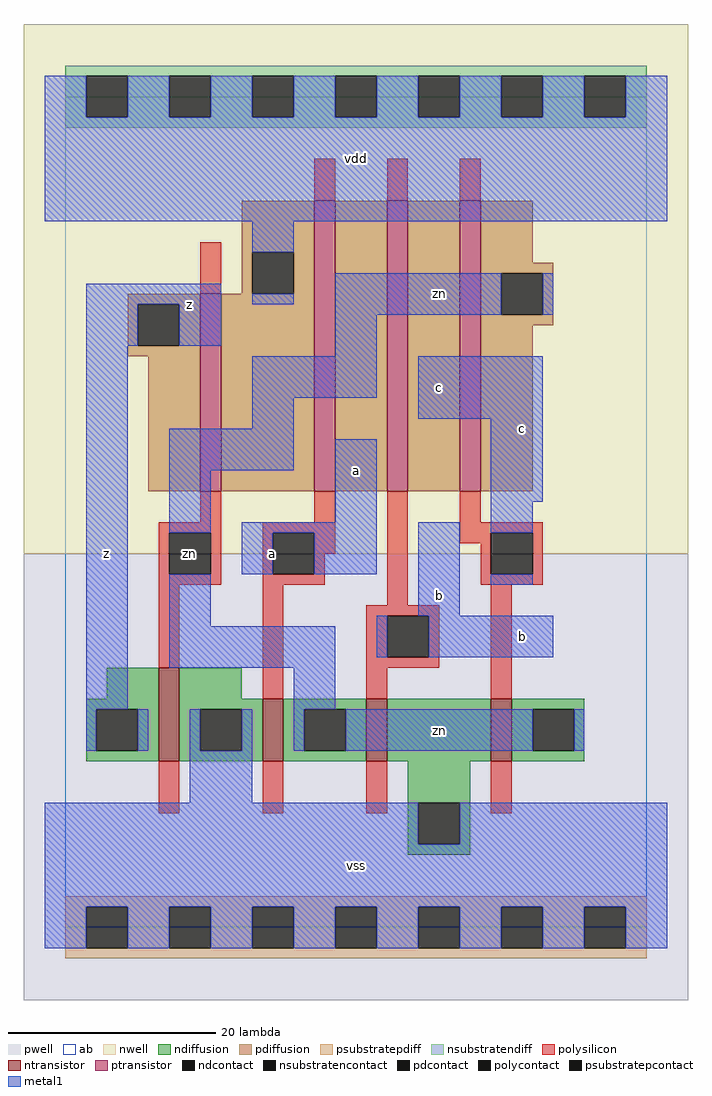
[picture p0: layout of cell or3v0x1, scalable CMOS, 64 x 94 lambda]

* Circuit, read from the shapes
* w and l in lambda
.subckt or3v0x1 a b c vdd vss z zn
M1 vss zn z vss nfet w=9 l=2
M2 zn a vss vss nfet w=6 l=2
M3 vss b zn vss nfet w=6 l=2
M4 zn c vss vss nfet w=6 l=2
M5 vdd zn z vdd pfet w=19 l=2
M6 n1 a vdd vdd pfet w=28 l=2
M7 n2 b n1 vdd pfet w=28 l=2
M8 zn c n2 vdd pfet w=28 l=2
.ends

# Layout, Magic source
magic
tech scmos
<< ab >>
rect 0 0 56 80
<< pwell >>
rect -4 -7 60 36
<< nwell >>
rect -4 36 60 87
<< polysilicon >>
rect 24 70 26 74
rect 31 70 33 74
rect 38 70 40 74
rect 13 61 15 66
rect 13 39 15 42
rect 24 39 26 42
rect 9 38 15 39
rect 9 34 10 38
rect 14 34 15 38
rect 9 33 15 34
rect 19 38 26 39
rect 19 34 20 38
rect 24 36 26 38
rect 24 34 25 36
rect 19 33 25 34
rect 9 25 11 33
rect 19 22 21 33
rect 31 31 33 42
rect 38 39 40 42
rect 38 38 46 39
rect 38 37 41 38
rect 40 34 41 37
rect 45 34 46 38
rect 40 33 46 34
rect 29 30 36 31
rect 29 26 31 30
rect 35 26 36 30
rect 29 25 36 26
rect 29 22 31 25
rect 41 22 43 33
rect 9 11 11 16
rect 19 11 21 16
rect 29 11 31 16
rect 41 11 43 16
<< ndiffusion >>
rect 4 22 9 25
rect 2 21 9 22
rect 2 17 3 21
rect 7 17 9 21
rect 2 16 9 17
rect 11 22 17 25
rect 11 21 19 22
rect 11 17 13 21
rect 17 17 19 21
rect 11 16 19 17
rect 21 21 29 22
rect 21 17 23 21
rect 27 17 29 21
rect 21 16 29 17
rect 31 16 41 22
rect 43 21 50 22
rect 43 17 45 21
rect 49 17 50 21
rect 43 16 50 17
rect 33 12 39 16
rect 33 8 34 12
rect 38 8 39 12
rect 33 7 39 8
<< pdiffusion >>
rect 17 65 24 70
rect 17 61 18 65
rect 22 61 24 65
rect 6 60 13 61
rect 6 56 7 60
rect 11 56 13 60
rect 6 55 13 56
rect 8 42 13 55
rect 15 42 24 61
rect 26 42 31 70
rect 33 42 38 70
rect 40 64 45 70
rect 40 63 47 64
rect 40 59 42 63
rect 46 59 47 63
rect 40 58 47 59
rect 40 42 45 58
<< metal1 >>
rect -2 78 2 82
rect 6 78 10 82
rect 14 78 18 82
rect 22 78 26 82
rect 30 78 34 82
rect 38 78 42 82
rect 46 78 50 82
rect 54 78 58 82
rect -2 68 58 78
rect 18 65 22 68
rect 2 60 15 62
rect 18 60 22 61
rect 2 56 7 60
rect 11 56 15 60
rect 26 59 42 63
rect 46 59 47 63
rect 2 21 6 56
rect 26 55 30 59
rect 18 51 30 55
rect 18 48 22 51
rect 34 49 46 55
rect 10 44 22 48
rect 10 38 14 44
rect 26 39 30 47
rect 41 41 46 49
rect 17 38 30 39
rect 17 34 20 38
rect 24 34 30 38
rect 10 29 14 34
rect 34 30 38 39
rect 41 38 45 41
rect 41 33 45 34
rect 10 25 26 29
rect 30 26 31 30
rect 35 26 47 30
rect 22 21 26 25
rect 2 17 3 21
rect 7 17 8 21
rect 12 17 13 21
rect 17 17 18 21
rect 22 17 23 21
rect 27 17 45 21
rect 49 17 50 21
rect 12 12 18 17
rect -2 8 34 12
rect 38 8 58 12
rect -2 2 58 8
rect -2 -2 2 2
rect 6 -2 10 2
rect 14 -2 18 2
rect 22 -2 26 2
rect 30 -2 34 2
rect 38 -2 42 2
rect 46 -2 50 2
rect 54 -2 58 2
<< ntransistor >>
rect 9 16 11 25
rect 19 16 21 22
rect 29 16 31 22
rect 41 16 43 22
<< ptransistor >>
rect 13 42 15 61
rect 24 42 26 70
rect 31 42 33 70
rect 38 42 40 70
<< polycontact >>
rect 10 34 14 38
rect 20 34 24 38
rect 41 34 45 38
rect 31 26 35 30
<< ndcontact >>
rect 3 17 7 21
rect 13 17 17 21
rect 23 17 27 21
rect 45 17 49 21
rect 34 8 38 12
<< pdcontact >>
rect 18 61 22 65
rect 7 56 11 60
rect 42 59 46 63
<< psubstratepcontact >>
rect 2 -2 6 2
rect 10 -2 14 2
rect 18 -2 22 2
rect 26 -2 30 2
rect 34 -2 38 2
rect 42 -2 46 2
rect 50 -2 54 2
<< nsubstratencontact >>
rect 2 78 6 82
rect 10 78 14 82
rect 18 78 22 82
rect 26 78 30 82
rect 34 78 38 82
rect 42 78 46 82
rect 50 78 54 82
<< psubstratepdiff >>
rect 0 2 56 3
rect 0 -2 2 2
rect 6 -2 10 2
rect 14 -2 18 2
rect 22 -2 26 2
rect 30 -2 34 2
rect 38 -2 42 2
rect 46 -2 50 2
rect 54 -2 56 2
rect 0 -3 56 -2
<< nsubstratendiff >>
rect 0 82 56 83
rect 0 78 2 82
rect 6 78 10 82
rect 14 78 18 82
rect 22 78 26 82
rect 30 78 34 82
rect 38 78 42 82
rect 46 78 50 82
rect 54 78 56 82
rect 0 77 56 78
<< labels >>
rlabel metal1 4 36 4 36 6 z
rlabel metal1 20 36 20 36 6 a
rlabel polycontact 12 36 12 36 6 zn
rlabel metal1 12 60 12 60 6 z
rlabel metal1 28 6 28 6 6 vss
rlabel metal1 36 32 36 32 6 b
rlabel metal1 28 44 28 44 6 a
rlabel metal1 36 52 36 52 6 c
rlabel metal1 28 74 28 74 6 vdd
rlabel metal1 36 19 36 19 6 zn
rlabel metal1 44 28 44 28 6 b
rlabel metal1 44 48 44 48 6 c
rlabel metal1 36 61 36 61 6 zn
<< end >>
